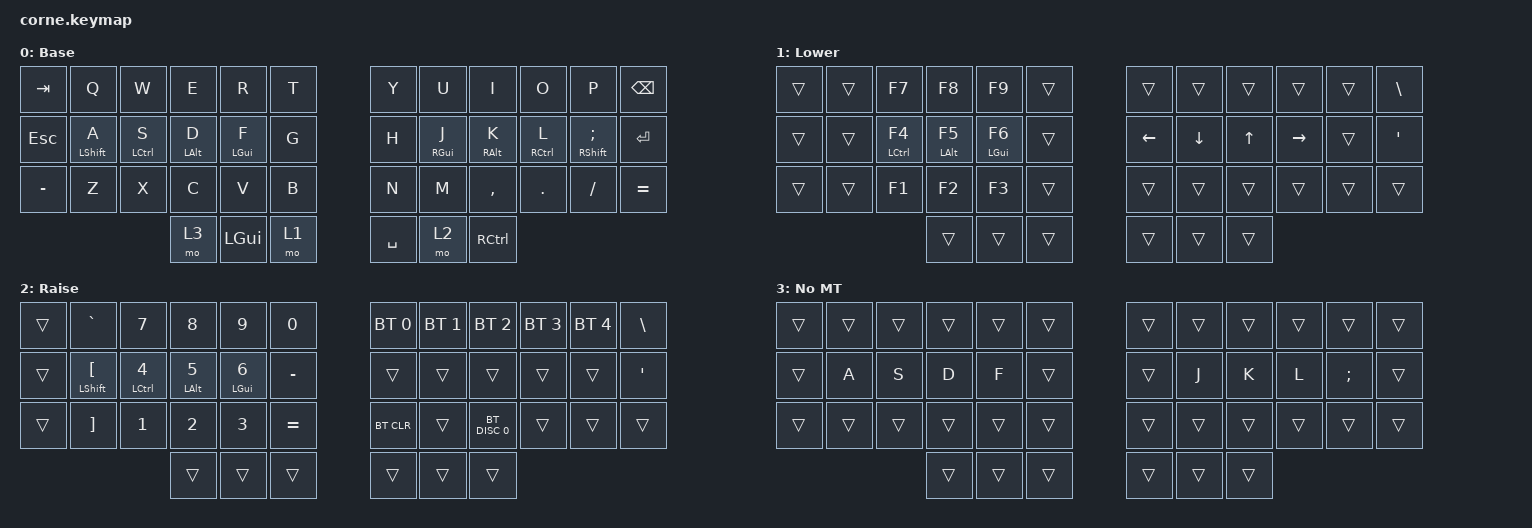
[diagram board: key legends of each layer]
#include <behaviors.dtsi>
#include <dt-bindings/zmk/bt.h>
#include <dt-bindings/zmk/keys.h>

&mt {
    tapping-term-ms = <200>;
    flavor = "tap-preferred";
};

/ {
    keymap {
        compatible = "zmk,keymap";

        default_layer {
            display-name = "Base";
            bindings = <
&kp TAB    &kp Q        &kp W        &kp E       &kp R       &kp T    &kp Y      &kp U       &kp I       &kp O        &kp P           &kp BSPC
&kp ESC    &mt LSHFT A  &mt LCTRL S  &mt LALT D  &mt LGUI F  &kp G    &kp H      &mt RGUI J  &mt RALT K  &mt RCTRL L  &mt RSHFT SEMI  &kp ENTER
&kp MINUS  &kp Z        &kp X        &kp C       &kp V       &kp B    &kp N      &kp M       &kp COMMA   &kp DOT      &kp FSLH        &kp EQUAL
                                     &mo 3       &kp LGUI    &mo 1    &kp SPACE  &mo 2       &kp RCTRL
            >;
        };

        lower_layer {
            display-name = "Lower";
            bindings = <
&trans  &trans  &kp F7        &kp F8       &kp F9       &trans    &trans    &trans    &trans        &trans     &trans  &kp BACKSLASH
&trans  &trans  &mt LCTRL F4  &mt LALT F5  &mt LGUI F6  &trans    &kp LEFT  &kp DOWN  &kp UP_ARROW  &kp RIGHT  &trans  &kp SINGLE_QUOTE
&trans  &trans  &kp F1        &kp F2       &kp F3       &trans    &trans    &trans    &trans        &trans     &trans  &trans
                              &trans       &trans       &trans    &trans    &trans    &trans
            >;
        };

        raise_layer {
            display-name = "Raise";
            bindings = <
&trans  &kp GRAVE               &kp N7        &kp N8       &kp N9       &kp N0       &bt BT_SEL 0  &bt BT_SEL 1  &bt BT_SEL 2   &bt BT_SEL 3  &bt BT_SEL 4  &kp BACKSLASH
&trans  &mt LSHFT LEFT_BRACKET  &mt LCTRL N4  &mt LALT N5  &mt LGUI N6  &kp MINUS    &trans        &trans        &trans         &trans        &trans        &kp SINGLE_QUOTE
&trans  &kp RIGHT_BRACKET       &kp N1        &kp N2       &kp N3       &kp EQUAL    &bt BT_CLR    &trans        &bt BT_DISC 0  &trans        &trans        &trans
                                              &trans       &trans       &trans       &trans        &trans        &trans
            >;
        };

        disable_home_mod {
            display-name = "No MT";
            bindings = <
&trans  &trans  &trans  &trans  &trans  &trans    &trans  &trans  &trans  &trans  &trans         &trans
&trans  &kp A   &kp S   &kp D   &kp F   &trans    &trans  &kp J   &kp K   &kp L   &kp SEMICOLON  &trans
&trans  &trans  &trans  &trans  &trans  &trans    &trans  &trans  &trans  &trans  &trans         &trans
                        &trans  &trans  &trans    &trans  &trans  &trans
            >;
        };
    };
};
